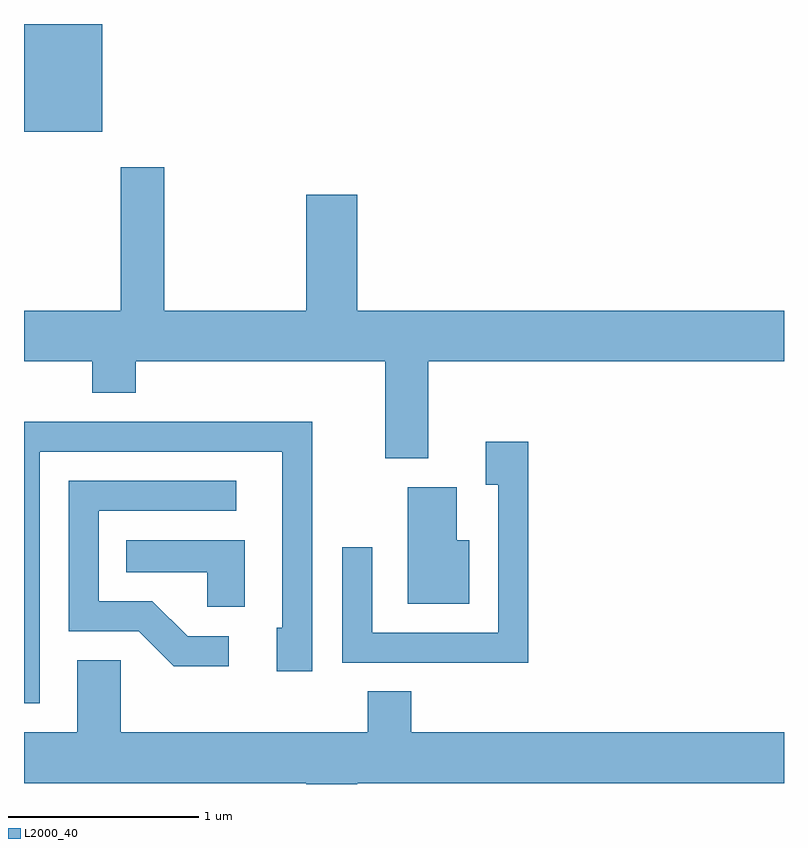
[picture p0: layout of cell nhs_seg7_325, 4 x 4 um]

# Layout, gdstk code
import gdstk
lib = gdstk.Library(unit=1e-6, precision=1e-09)
def R(c, l, rs):  # rectangles x0, y0, x1, y1
    for r in rs: c.add(gdstk.rectangle(r[:2], r[2:], *l))
def P(c, l, *ps):  # polygons
    for p in ps: c.add(gdstk.Polygon(p, *l))
L2000_40 = (2000, 40)

nhs_seg7_325 = lib.new_cell('nhs_seg7_325')
R(nhs_seg7_325, L2000_40, [(193.611,1777.686,194.024,1778.252)])
P(nhs_seg7_325, L2000_40, [(195.739,1776.476),(197.611,1776.476),(197.611,1776.744),(195.364,1776.744),(195.364,1777.354),(195.096,1777.354),(195.096,1776.744),(194.349,1776.744),(194.349,1777.499),(194.121,1777.499),(194.121,1776.744),(193.611,1776.744),(193.611,1776.476),(193.971,1776.476),(193.971,1776.311),(194.199,1776.311),(194.199,1776.476),(195.511,1776.476),(195.511,1775.966),(195.739,1775.966)],
  [(193.694,1776.001),(194.971,1776.001),(194.971,1775.074),(194.941,1775.074),(194.941,1774.846),(195.129,1774.846),(195.129,1776.159),(193.611,1776.159),(193.611,1774.676),(193.694,1774.676)],
  [(196.264,1776.054),(196.041,1776.054),(196.041,1775.826),(196.106,1775.826),(196.106,1775.049),(195.444,1775.049),(195.444,1775.498),(195.286,1775.498),(195.286,1774.891),(196.264,1774.891)],
  [(194.688,1775.029),(194.472,1775.029),(194.287,1775.214),(194.004,1775.214),(194.004,1775.691),(194.728,1775.691),(194.728,1775.849),(193.846,1775.849),(193.846,1775.056),(194.214,1775.056),(194.399,1774.871),(194.688,1774.871)],
  [(195.954,1775.534),(195.889,1775.534),(195.889,1775.814),(195.631,1775.814),(195.631,1775.201),(195.954,1775.201)],
  [(194.774,1775.534),(194.148,1775.534),(194.148,1775.366),(194.576,1775.366),(194.576,1775.186),(194.774,1775.186)],
  [(195.364,1774.256),(197.611,1774.256),(197.611,1774.524),(195.649,1774.524),(195.649,1774.739),(195.421,1774.739),(195.421,1774.524),(194.119,1774.524),(194.119,1774.904),(193.891,1774.904),(193.891,1774.524),(193.611,1774.524),(193.611,1774.256),(195.096,1774.256),(195.096,1774.252),(195.364,1774.252)])

lib.write_gds('nhs_seg7_325.gds')
